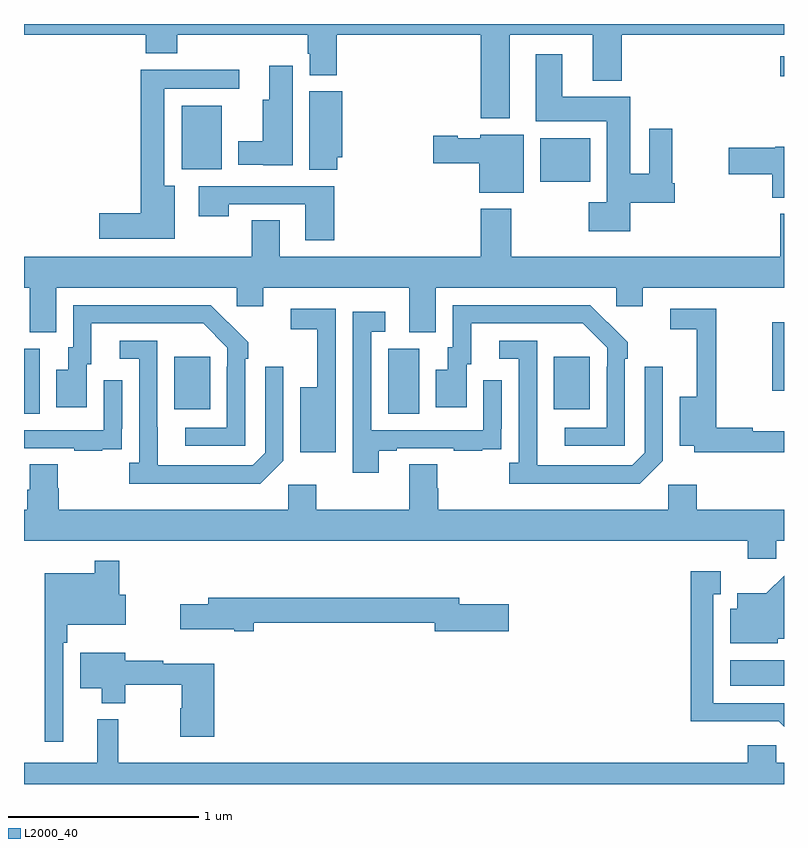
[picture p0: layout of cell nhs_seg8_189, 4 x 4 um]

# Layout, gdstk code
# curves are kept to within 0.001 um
import gdstk
lib = gdstk.Library(unit=1e-6, precision=1e-09)
def R(c, l, rs):  # rectangles x0, y0, x1, y1
    for r in rs: c.add(gdstk.rectangle(r[:2], r[2:], *l))
def P(c, l, *ps):  # polygons
    for p in ps: c.add(gdstk.Polygon(p, *l))
L2000_40 = (2000, 40)

nhs_seg8_189 = lib.new_cell('nhs_seg8_189')
R(nhs_seg8_189, L2000_40, [(126.716,1102.418,127,1102.552), (123,1103.848,123.082,1104.192), (124.916,1103.848,125.08,1104.192), (123.791,1103.873,123.979,1104.148), (125.789,1103.873,125.977,1104.148), (126.938,1103.97,127,1104.331), (125.717,1105.07,125.98,1105.3), (123.83,1105.136,124.042,1105.471), (126.98,1105.625,127,1105.729)])
P(nhs_seg8_189, L2000_40, [(125.557,1105.844),(125.993,1105.844),(125.993,1105.601),(126.146,1105.601),(126.146,1105.844),(127,1105.844),(127,1105.9),(123,1105.9),(123,1105.844),(123.641,1105.844),(123.641,1105.745),(123.806,1105.745),(123.806,1105.844),(124.493,1105.844),(124.493,1105.743),(124.505,1105.743),(124.505,1105.631),(124.646,1105.631),(124.646,1105.844),(125.405,1105.844),(125.405,1105.403),(125.557,1105.403)],
  [(126.19,1104.959),(126.425,1104.959),(126.425,1105.063),(126.412,1105.063),(126.412,1105.348),(126.29,1105.348),(126.29,1105.112),(126.19,1105.112),(126.19,1105.516),(125.833,1105.516),(125.833,1105.741),(125.693,1105.741),(125.693,1105.388),(126.068,1105.388),(126.068,1104.961),(125.973,1104.961),(125.973,1104.809),(126.19,1104.809)],
  [(124.414,1105.681),(124.292,1105.681),(124.292,1105.501),(124.256,1105.501),(124.256,1105.282),(124.127,1105.282),(124.127,1105.16),(124.26,1105.16),(124.26,1105.157),(124.414,1105.157)],
  [(123.793,1105.048),(123.739,1105.048),(123.739,1105.56),(124.132,1105.56),(124.132,1105.658),(123.614,1105.658),(123.614,1104.905),(123.396,1104.905),(123.396,1104.77),(123.793,1104.77)],
  [(124.649,1105.199),(124.675,1105.199),(124.675,1105.546),(124.502,1105.546),(124.502,1105.132),(124.649,1105.132)],
  [(125.629,1105.318),(125.4,1105.318),(125.4,1105.3),(125.283,1105.3),(125.283,1105.313),(125.154,1105.313),(125.154,1105.166),(125.396,1105.166),(125.396,1105.013),(125.629,1105.013)],
  [(127,1105.255),(126.954,1105.255),(126.954,1105.25),(126.708,1105.25),(126.708,1105.108),(126.938,1105.108),(126.938,1104.986),(127,1104.986)],
  [(124.634,1105.047),(123.921,1105.047),(123.921,1104.888),(124.077,1104.888),(124.077,1104.951),(124.481,1104.951),(124.481,1104.762),(124.634,1104.762)],
  [(123.169,1104.512),(124.119,1104.512),(124.119,1104.414),(124.258,1104.414),(124.258,1104.512),(125.027,1104.512),(125.027,1104.277),(125.167,1104.277),(125.167,1104.512),(126.117,1104.512),(126.117,1104.414),(126.256,1104.414),(126.256,1104.512),(127,1104.512),(127,1104.901),(126.979,1104.901),(126.979,1104.676),(125.565,1104.676),(125.565,1104.928),(125.405,1104.928),(125.405,1104.676),(124.345,1104.676),(124.345,1104.866),(124.198,1104.866),(124.198,1104.676),(123,1104.676),(123,1104.512),(123.029,1104.512),(123.029,1104.277),(123.169,1104.277)],
  [(126.162,1104.137),(126.177,1104.137),(126.177,1104.225),(125.98,1104.42),(125.256,1104.42),(125.256,1104.198),(125.231,1104.198),(125.231,1104.079),(125.168,1104.079),(125.168,1103.883),(125.329,1103.883),(125.329,1104.108),(125.353,1104.108),(125.353,1104.324),(125.941,1104.324),(126.069,1104.195),(126.069,1104.095),(126.066,1104.095),(126.066,1103.775),(125.847,1103.775),(125.847,1103.679),(126.162,1103.679)],
  [(124.164,1104.137),(124.179,1104.137),(124.179,1104.225),(123.982,1104.42),(123.258,1104.42),(123.258,1104.198),(123.233,1104.198),(123.233,1104.079),(123.17,1104.079),(123.17,1103.883),(123.331,1103.883),(123.331,1104.108),(123.355,1104.108),(123.355,1104.324),(123.943,1104.324),(124.071,1104.195),(124.071,1104.095),(124.068,1104.095),(124.068,1103.775),(123.849,1103.775),(123.849,1103.679),(124.164,1103.679)],
  [(127,1103.756),(126.836,1103.756),(126.836,1103.774),(126.644,1103.774),(126.644,1104.402),(126.402,1104.402),(126.402,1104.294),(126.542,1104.294),(126.542,1103.938),(126.452,1103.938),(126.452,1103.681),(126.528,1103.681),(126.528,1103.646),(127,1103.646)],
  [(124.642,1103.885),(124.641,1103.885),(124.641,1104.402),(124.404,1104.402),(124.404,1104.294),(124.544,1104.294),(124.544,1103.989),(124.454,1103.989),(124.454,1103.645),(124.642,1103.645)],
  [(124.867,1103.655),(124.963,1103.655),(124.963,1103.667),(125.263,1103.667),(125.263,1103.655),(125.411,1103.655),(125.411,1103.661),(125.513,1103.661),(125.513,1103.77),(125.514,1103.77),(125.514,1104.025),(125.418,1104.025),(125.418,1103.763),(124.827,1103.763),(124.827,1104.279),(124.9,1104.279),(124.9,1104.385),(124.731,1104.385),(124.731,1103.538),(124.867,1103.538)],
  [(126.363,1103.601),(126.363,1104.097),(126.267,1104.097),(126.267,1103.643),(126.201,1103.577),(125.701,1103.577),(125.7,1104.234),(125.502,1104.234),(125.502,1104.138),(125.604,1104.138),(125.604,1103.59),(125.553,1103.59),(125.553,1103.48),(126.242,1103.48)],
  [(124.365,1103.601),(124.365,1104.097),(124.269,1104.097),(124.269,1103.643),(124.203,1103.577),(123.703,1103.577),(123.702,1104.234),(123.504,1104.234),(123.504,1104.138),(123.606,1104.138),(123.606,1103.59),(123.555,1103.59),(123.555,1103.48),(124.244,1103.48)],
  [(123.413,1103.661),(123.515,1103.661),(123.515,1103.77),(123.516,1103.77),(123.516,1104.025),(123.42,1104.025),(123.42,1103.763),(123,1103.763),(123,1103.667),(123.265,1103.667),(123.265,1103.655),(123.413,1103.655)],
  [(126.96,1103.18),(127,1103.18),(127,1103.344),(126.542,1103.344),(126.542,1103.476),(126.39,1103.476),(126.39,1103.344),(125.18,1103.344),(125.18,1103.457),(125.175,1103.457),(125.175,1103.582),(125.027,1103.582),(125.027,1103.344),(124.539,1103.344),(124.539,1103.476),(124.392,1103.476),(124.392,1103.344),(123.182,1103.344),(123.182,1103.457),(123.177,1103.457),(123.177,1103.582),(123.029,1103.582),(123.029,1103.45),(123.017,1103.45),(123.017,1103.344),(123,1103.344),(123,1103.18),(126.809,1103.18),(126.809,1103.085),(126.96,1103.085)],
  [(123.207,1102.643),(123.227,1102.643),(123.227,1102.739),(123.535,1102.739),(123.535,1102.897),(123.5,1102.897),(123.5,1103.074),(123.372,1103.074),(123.372,1103.008),(123.11,1103.008),(123.11,1102.122),(123.207,1102.122)],
  [(127,1102.326),(126.628,1102.326),(126.628,1102.899),(126.667,1102.899),(126.667,1103.02),(126.51,1103.02),(126.51,1102.229),(126.75,1102.229),(126.75,1102.23),(126.972,1102.23),(127,1102.202)],
  [(126.966,1102.664),(127,1102.664),(127,1102.995),(126.907,1102.903),(126.755,1102.903),(126.755,1102.822),(126.716,1102.822),(126.716,1102.64),(126.966,1102.64)],
  [(124.21,1102.75),(125.162,1102.75),(125.162,1102.703),(125.551,1102.703),(125.551,1102.845),(125.29,1102.845),(125.29,1102.879),(123.971,1102.879),(123.971,1102.845),(123.822,1102.845),(123.822,1102.715),(124.106,1102.715),(124.106,1102.703),(124.21,1102.703)],
  [(124.001,1102.532),(123.734,1102.532),(123.734,1102.55),(123.532,1102.55),(123.532,1102.591),(123.296,1102.591),(123.296,1102.403),(123.41,1102.403),(123.41,1102.325),(123.532,1102.325),(123.532,1102.422),(123.83,1102.422),(123.83,1102.299),(123.823,1102.299),(123.823,1102.149),(124.001,1102.149)],
  [(127,1102.012),(126.96,1102.012),(126.96,1102.105),(126.809,1102.105),(126.809,1102.012),(123.496,1102.012),(123.496,1102.24),(123.386,1102.24),(123.386,1102.012),(123,1102.012),(123,1101.9),(127,1101.9)])

lib.write_gds('nhs_seg8_189.gds')
